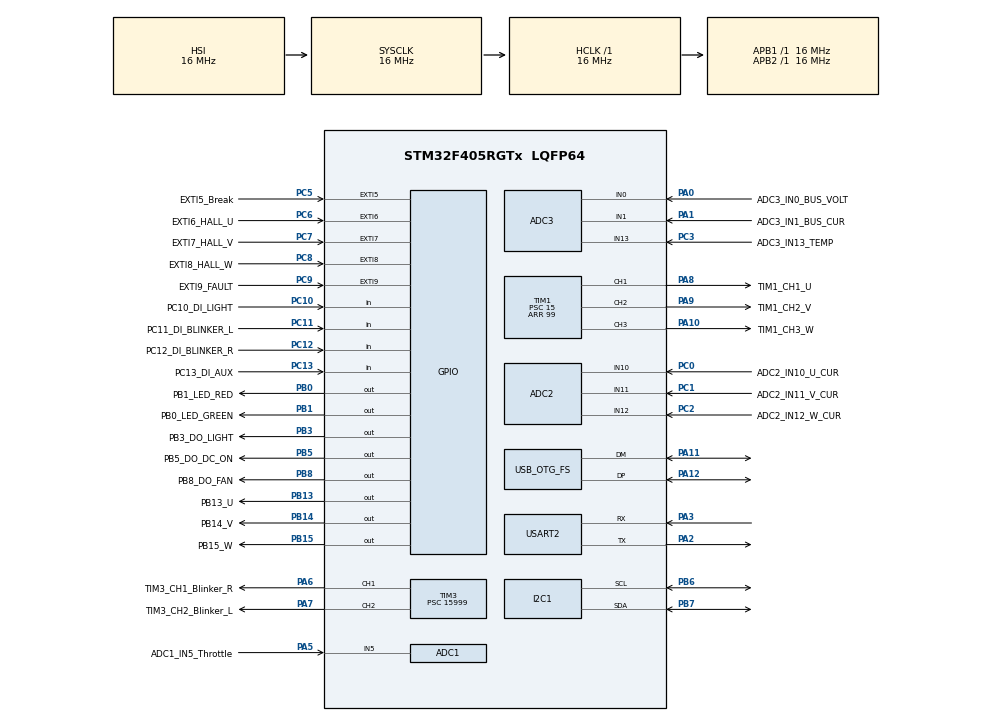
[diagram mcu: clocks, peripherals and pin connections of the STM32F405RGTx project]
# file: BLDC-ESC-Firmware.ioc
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ADC1.Channel-0\#ChannelRegularConversion=ADC_CHANNEL_5
ADC1.ContinuousConvMode=ENABLE
ADC1.NbrOfConversionFlag=1
ADC1.Rank-0\#ChannelRegularConversion=1
ADC1.SamplingTime-0\#ChannelRegularConversion=ADC_SAMPLETIME_3CYCLES
ADC1.master=1
ADC2.Channel-0\#ChannelRegularConversion=ADC_CHANNEL_10
ADC2.NbrOfConversionFlag=1
ADC2.Rank-0\#ChannelRegularConversion=1
ADC2.SamplingTime-0\#ChannelRegularConversion=ADC_SAMPLETIME_3CYCLES
ADC3.Channel-0\#ChannelRegularConversion=ADC_CHANNEL_1
ADC3.Channel-1\#ChannelRegularConversion=ADC_CHANNEL_0
ADC3.Channel-2\#ChannelRegularConversion=ADC_CHANNEL_13
ADC3.ContinuousConvMode=ENABLE
ADC3.NbrOfConversion=3
ADC3.NbrOfConversionFlag=1
ADC3.Rank-0\#ChannelRegularConversion=1
ADC3.Rank-1\#ChannelRegularConversion=2
ADC3.Rank-2\#ChannelRegularConversion=3
ADC3.SamplingTime-0\#ChannelRegularConversion=ADC_SAMPLETIME_28CYCLES
ADC3.SamplingTime-1\#ChannelRegularConversion=ADC_SAMPLETIME_28CYCLES
ADC3.SamplingTime-2\#ChannelRegularConversion=ADC_SAMPLETIME_28CYCLES
ADC3.ScanConvMode=ENABLE
Mcu.Family=STM32F4
Mcu.Name=STM32F405RGTx
Mcu.Package=LQFP64
NVIC.ADC_IRQn=true\:0\:0\:false\:false\:true\:true\:true\:true
NVIC.EXTI9_5_IRQn=true\:0\:0\:false\:false\:true\:true\:true\:true
NVIC.OTG_FS_IRQn=true\:0\:0\:false\:false\:true\:false\:true\:true
NVIC.PriorityGroup=NVIC_PRIORITYGROUP_4
NVIC.TIM2_IRQn=true\:0\:0\:false\:false\:true\:true\:true\:true
NVIC.USART2_IRQn=true\:0\:0\:false\:false\:true\:true\:true\:true
PA0-WKUP.GPIO_Label=ADC3_IN0_BUS_VOLT
PA0-WKUP.Signal=ADCx_IN0
PA1.GPIO_Label=ADC3_IN1_BUS_CUR
PA1.Signal=ADCx_IN1
PA10.GPIO_Label=TIM1_CH3_W
PA10.Signal=S_TIM1_CH3
PA11.Mode=Device_Only
PA11.Signal=USB_OTG_FS_DM
PA12.Mode=Device_Only
PA12.Signal=USB_OTG_FS_DP
PA13.Mode=Serial_Wire
PA13.Signal=SYS_JTMS-SWDIO
PA14.Mode=Serial_Wire
PA14.Signal=SYS_JTCK-SWCLK
PA2.Mode=Asynchronous
PA2.Signal=USART2_TX
PA3.Mode=Asynchronous
PA3.Signal=USART2_RX
PA5.GPIO_Label=ADC1_IN5_Throttle
PA5.Signal=ADCx_IN5
PA6.GPIO_Label=TIM3_CH1_Blinker_R
PA6.Signal=S_TIM3_CH1
PA7.GPIO_Label=TIM3_CH2_Blinker_L
PA7.Signal=S_TIM3_CH2
PA8.GPIO_Label=TIM1_CH1_U
PA8.Signal=S_TIM1_CH1
PA9.GPIO_Label=TIM1_CH2_V
PA9.Signal=S_TIM1_CH2
PB0.GPIO_Label=PB1_LED_RED
PB0.GPIO_ModeDefaultOutputPP=GPIO_MODE_OUTPUT_OD
PB0.GPIO_PuPd=GPIO_PULLUP
PB0.Signal=GPIO_Output
PB1.GPIO_Label=PB0_LED_GREEN
PB1.GPIO_ModeDefaultOutputPP=GPIO_MODE_OUTPUT_OD
PB1.GPIO_PuPd=GPIO_PULLUP
PB1.Signal=GPIO_Output
PB13.GPIO_Label=PB13_U
PB13.Signal=GPIO_Output
PB14.GPIO_Label=PB14_V
PB14.Signal=GPIO_Output
PB15.GPIO_Label=PB15_W
PB15.Signal=GPIO_Output
PB3.GPIO_Label=PB3_DO_LIGHT
PB3.GPIO_ModeDefaultOutputPP=GPIO_MODE_OUTPUT_OD
PB3.GPIO_PuPd=GPIO_PULLUP
PB3.Signal=GPIO_Output
PB5.GPIO_Label=PB5_DO_DC_ON
PB5.GPIO_ModeDefaultOutputPP=GPIO_MODE_OUTPUT_OD
PB5.GPIO_PuPd=GPIO_PULLUP
PB5.PinState=GPIO_PIN_SET
PB5.Signal=GPIO_Output
PB6.Mode=I2C
PB6.Signal=I2C1_SCL
PB7.Mode=I2C
PB7.Signal=I2C1_SDA
PB8.GPIO_Label=PB8_DO_FAN
PB8.GPIO_ModeDefaultOutputPP=GPIO_MODE_OUTPUT_OD
PB8.GPIO_PuPd=GPIO_PULLUP
PB8.Signal=GPIO_Output
PC0.GPIO_Label=ADC2_IN10_U_CUR
PC0.Signal=ADCx_IN10
PC1.GPIO_Label=ADC2_IN11_V_CUR
PC1.Signal=ADCx_IN11
PC10.GPIO_Label=PC10_DI_LIGHT
PC10.Signal=GPIO_Input
PC11.GPIO_Label=PC11_DI_BLINKER_L
PC11.Signal=GPIO_Input
PC12.GPIO_Label=PC12_DI_BLINKER_R
PC12.Signal=GPIO_Input
PC13-ANTI_TAMP.GPIO_Label=PC13_DI_AUX
PC13-ANTI_TAMP.Signal=GPIO_Input
PC2.GPIO_Label=ADC2_IN12_W_CUR
PC2.Signal=ADCx_IN12
PC3.GPIO_Label=ADC3_IN13_TEMP
PC3.Signal=ADCx_IN13
PC5.GPIO_Label=EXTI5_Break
PC5.GPIO_ModeDefaultEXTI=GPIO_MODE_IT_RISING_FALLING
PC5.Signal=GPXTI5
PC6.GPIO_Label=EXTI6_HALL_U
PC6.GPIO_ModeDefaultEXTI=GPIO_MODE_IT_RISING_FALLING
PC6.Signal=GPXTI6
PC7.GPIO_Label=EXTI7_HALL_V
PC7.GPIO_ModeDefaultEXTI=GPIO_MODE_IT_RISING_FALLING
PC7.Signal=GPXTI7
PC8.GPIO_Label=EXTI8_HALL_W
PC8.GPIO_ModeDefaultEXTI=GPIO_MODE_IT_RISING_FALLING
PC8.Signal=GPXTI8
PC9.GPIO_Label=EXTI9_FAULT
PC9.GPIO_ModeDefaultEXTI=GPIO_MODE_IT_RISING
PC9.Signal=GPXTI9
PH0-OSC_IN.Mode=HSE-External-Oscillator
PH0-OSC_IN.Signal=RCC_OSC_IN
PH1-OSC_OUT.Mode=HSE-External-Oscillator
PH1-OSC_OUT.Signal=RCC_OSC_OUT
ProjectManager.HeapSize=0x200
ProjectManager.StackSize=0x400
ProjectManager.TargetToolchain=STM32CubeIDE
RCC.48MHZClocksFreq_Value=48000000
RCC.AHBFreq_Value=16000000
RCC.APB1Freq_Value=16000000
RCC.APB2Freq_Value=16000000
RCC.CortexFreq_Value=16000000
RCC.HSE_VALUE=8000000
RCC.HSI_VALUE=16000000
RCC.LSE_VALUE=32768
RCC.PLLM=4
RCC.PLLN=72
RCC.PLLQ=3
RCC.SYSCLKFreq_VALUE=16000000
RCC.VCOOutputFreq_Value=144000000
SH.ADCx_IN0.0=ADC3_IN0,IN0
SH.ADCx_IN1.0=ADC3_IN1,IN1
SH.ADCx_IN10.0=ADC2_IN10,IN10
SH.ADCx_IN11.0=ADC2_IN11,IN11
SH.ADCx_IN12.0=ADC2_IN12,IN12
SH.ADCx_IN13.0=ADC3_IN13,IN13
SH.ADCx_IN5.0=ADC1_IN5,IN5
SH.S_TIM1_CH1.0=TIM1_CH1,PWM Generation1 CH1
SH.S_TIM1_CH2.0=TIM1_CH2,PWM Generation2 CH2
SH.S_TIM1_CH3.0=TIM1_CH3,PWM Generation3 CH3
SH.S_TIM3_CH1.0=TIM3_CH1,PWM Generation1 CH1
SH.S_TIM3_CH2.0=TIM3_CH2,PWM Generation2 CH2
TIM1.Channel-PWM\ Generation1\ CH1=TIM_CHANNEL_1
TIM1.Channel-PWM\ Generation2\ CH2=TIM_CHANNEL_2
TIM1.Channel-PWM\ Generation3\ CH3=TIM_CHANNEL_3
TIM1.Period=99
TIM1.Prescaler=15
TIM2.Period=99
TIM2.Prescaler=15999
TIM3.Channel-PWM\ Generation1\ CH1=TIM_CHANNEL_1
TIM3.Channel-PWM\ Generation2\ CH2=TIM_CHANNEL_2
TIM3.Period=499
TIM3.Prescaler=15999
USART2.VirtualMode=VM_ASYNC
USB_DEVICE.CLASS_NAME_FS=CDC
USB_DEVICE.VirtualMode-CDC_FS=Cdc
USB_DEVICE.VirtualModeFS=Cdc_FS
USB_OTG_FS.VirtualMode=Device_Only
VP_TIM1_VS_ClockSourceINT.Mode=Internal
VP_TIM2_VS_ClockSourceINT.Mode=Internal
VP_TIM3_VS_ClockSourceINT.Mode=Internal
VP_USB_DEVICE_VS_USB_DEVICE_CDC_FS.Mode=CDC_FS
board=custom

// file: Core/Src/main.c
/* USER CODE BEGIN Header */
/**
  ******************************************************************************
  * @file           : main.c
  * @brief          : Main program body
  ******************************************************************************
  * @attention
  *
  * Copyright (c) 2024 STMicroelectronics.
  * All rights reserved.
  *
  * This software is licensed under terms that can be found in the LICENSE file
  * in the root directory of this software component.
  * If no LICENSE file comes with this software, it is provided AS-IS.
  *
  ******************************************************************************
  */
/* USER CODE END Header */
#include "main.h"
#include "usb_device.h"

/* USER CODE BEGIN Includes */
#include "usb_device.h"
#include "usbd_cdc_if.h"
#include "liquidcrystal_i2c.h"
/* USER CODE END Includes */

ADC_HandleTypeDef hadc1;
ADC_HandleTypeDef hadc2;
ADC_HandleTypeDef hadc3;

I2C_HandleTypeDef hi2c1;

TIM_HandleTypeDef htim1;
TIM_HandleTypeDef htim2;
TIM_HandleTypeDef htim3;

UART_HandleTypeDef huart2;

/* USER CODE BEGIN PV */
/*
 * Machine State
 */
int STATE = DEBUGST;
/*
 * Drive Varaibles
 */

int dir = 1;
int duty = 0;

/*
 * Speed measurment Varaibles
 */
int hallCC = 0;
float rpm = 0;
/*
 * ADC Variables
 */
uint16_t rawThrot =0;
//uint16_t pwmThrot =0;

//ADC data [Current,Voltage,Temp,speed]
float ADC_VAL[4];
/*
 * Digital input Variables
 */
//Button data[Light,Blinker L, Blinker R, Aux]
uint16_t but[4];

// Global variable to track time in SWFAULT state (in 100ms units)
uint32_t swfault_time_counter = 0;

/*
 * Display variables
 */
lcd_ar lcd_val;

/* USER CODE END PV */

void SystemClock_Config(void);
static void MX_GPIO_Init(void);
static void MX_ADC1_Init(void);
static void MX_ADC2_Init(void);
static void MX_ADC3_Init(void);
static void MX_I2C1_Init(void);
static void MX_TIM3_Init(void);
static void MX_USART2_UART_Init(void);
static void MX_TIM1_Init(void);
static void MX_TIM2_Init(void);

int main(void)
{

  /* USER CODE BEGIN 1 */

	//init button array
	but[0]=1;
	but[1]=1;
	but[2]=1;
	but[3]=1;

  /* USER CODE END 1 */

  /* MCU Configuration--------------------------------------------------------*/

  /* Reset of all peripherals, Initializes the Flash interface and the Systick. */
  HAL_Init();

  /* Configure the system clock */
  SystemClock_Config();

  /* Initialize all configured peripherals */
  MX_GPIO_Init();
  MX_ADC1_Init();
  MX_ADC2_Init();
  MX_ADC3_Init();
  MX_I2C1_Init();
  MX_TIM3_Init();
  MX_USART2_UART_Init();
  MX_USB_DEVICE_Init();
  MX_TIM1_Init();
  MX_TIM2_Init();
  /* USER CODE BEGIN 2 */

  /*
   * Start 100ms AUX Timer
   */
  if (HAL_TIM_Base_Start_IT(&htim2) != HAL_OK)
  {
    /* Starting Error */
    Error_Handler();
  }

  //Close Relay
  HAL_GPIO_WritePin(GPIOB,PB5_DO_DC_ON_Pin,GPIO_PIN_RESET);
  //Init Blinker
  TIM3->CCR1 = 250;
  HAL_TIM_PWM_Start(&htim3, TIM_CHANNEL_1);
  TIM3->CCR2 = 250;
  HAL_TIM_PWM_Start(&htim3, TIM_CHANNEL_2);

   HD44780_Init(4);
   HD44780_Clear();

   HD44780_SetCursor(6,0);
   HD44780_PrintStr("Init...");
   HAL_Delay(250);

   HD44780_SetCursor(5,1);
   HD44780_PrintStr("BLDC DRIVE");
   HAL_Delay(250);

   HD44780_SetCursor(8,2);
   HD44780_PrintStr("By:");
   HAL_Delay(250);

   HD44780_SetCursor(5,3);
   HD44780_PrintStr("LEON REEH");
   HAL_Delay(800);
   HD44780_Clear();

   Init_lcd_ar(&lcd_val);
   resetDO();
  /* USER CODE END 2 */

  /* Infinite loop */
  /* USER CODE BEGIN WHILE */
  while (1)
  {
	  //Read inputs
	  readADCs();
	  readDI();
	  doADCs();
	  /* STATE MACHINE */
	  switch(STATE){
	  	  case READY:
	  		  ready();
	  		  setDO();
	  		  break;

	  	  case DRIVE:
	  		  drive();
	  		  setDO();
	  		  break;

	  	  case BREAK:
	  		  breaking();
	  		  setDO();
	  		  break;

	  	  case SWFAULT:
	  		  resetDO();
	  		  swfault();
	  		  break;

	  	  case HWFAULT:
	  		  resetDO();
	  		  hwfault();
	  		  break;

	  	  case DEBUGST:
	  		  debug();
	  		  setDO();
	  		  break;

	  	  default:
	  		  resetDO();
	  		  hwfault();
	  		  break;
	  	  }

	  //Update LCD every 500ms
	  if(timcc>=5){
		  update_lcd_val(&lcd_val,ADC_VAL);
		  writeState();
		  timcc =0;
	  }

	  HAL_Delay(25);

    /* USER CODE END WHILE */

  }
}

void SystemClock_Config(void)
{
  RCC_OscInitTypeDef RCC_OscInitStruct = {0};
  RCC_ClkInitTypeDef RCC_ClkInitStruct = {0};

  /** Configure the main internal regulator output voltage
  */
  __HAL_RCC_PWR_CLK_ENABLE();
  __HAL_PWR_VOLTAGESCALING_CONFIG(PWR_REGULATOR_VOLTAGE_SCALE1);

  /** Initializes the RCC Oscillators according to the specified parameters
  * in the RCC_OscInitTypeDef structure.
  */
  RCC_OscInitStruct.OscillatorType = RCC_OSCILLATORTYPE_HSI|RCC_OSCILLATORTYPE_HSE;
  RCC_OscInitStruct.HSEState = RCC_HSE_ON;
  RCC_OscInitStruct.HSIState = RCC_HSI_ON;
  RCC_OscInitStruct.HSICalibrationValue = RCC_HSICALIBRATION_DEFAULT;
  RCC_OscInitStruct.PLL.PLLState = RCC_PLL_ON;
  RCC_OscInitStruct.PLL.PLLSource = RCC_PLLSOURCE_HSE;
  RCC_OscInitStruct.PLL.PLLM = 4;
  RCC_OscInitStruct.PLL.PLLN = 72;
  RCC_OscInitStruct.PLL.PLLP = RCC_PLLP_DIV2;
  RCC_OscInitStruct.PLL.PLLQ = 3;
  if (HAL_RCC_OscConfig(&RCC_OscInitStruct) != HAL_OK)
  {
    Error_Handler();
  }

  /** Initializes the CPU, AHB and APB buses clocks
  */
  RCC_ClkInitStruct.ClockType = RCC_CLOCKTYPE_HCLK|RCC_CLOCKTYPE_SYSCLK
                              |RCC_CLOCKTYPE_PCLK1|RCC_CLOCKTYPE_PCLK2;
  RCC_ClkInitStruct.SYSCLKSource = RCC_SYSCLKSOURCE_HSI;
  RCC_ClkInitStruct.AHBCLKDivider = RCC_SYSCLK_DIV1;
  RCC_ClkInitStruct.APB1CLKDivider = RCC_HCLK_DIV1;
  RCC_ClkInitStruct.APB2CLKDivider = RCC_HCLK_DIV1;

  if (HAL_RCC_ClockConfig(&RCC_ClkInitStruct, FLASH_LATENCY_0) != HAL_OK)
  {
    Error_Handler();
  }
}

static void MX_ADC1_Init(void)
{

  ADC_ChannelConfTypeDef sConfig = {0};

  /** Configure the global features of the ADC (Clock, Resolution, Data Alignment and number of conversion)
  */
  hadc1.Instance = ADC1;
  hadc1.Init.ClockPrescaler = ADC_CLOCK_SYNC_PCLK_DIV2;
  hadc1.Init.Resolution = ADC_RESOLUTION_12B;
  hadc1.Init.ScanConvMode = DISABLE;
  hadc1.Init.ContinuousConvMode = ENABLE;
  hadc1.Init.DiscontinuousConvMode = DISABLE;
  hadc1.Init.ExternalTrigConvEdge = ADC_EXTERNALTRIGCONVEDGE_NONE;
  hadc1.Init.ExternalTrigConv = ADC_SOFTWARE_START;
  hadc1.Init.DataAlign = ADC_DATAALIGN_RIGHT;
  hadc1.Init.NbrOfConversion = 1;
  hadc1.Init.DMAContinuousRequests = DISABLE;
  hadc1.Init.EOCSelection = ADC_EOC_SINGLE_CONV;
  if (HAL_ADC_Init(&hadc1) != HAL_OK)
  {
    Error_Handler();
  }

  /** Configure for the selected ADC regular channel its corresponding rank in the sequencer and its sample time.
  */
  sConfig.Channel = ADC_CHANNEL_5;
  sConfig.Rank = 1;
  sConfig.SamplingTime = ADC_SAMPLETIME_3CYCLES;
  if (HAL_ADC_ConfigChannel(&hadc1, &sConfig) != HAL_OK)
  {
    Error_Handler();
  }

}

static void MX_ADC2_Init(void)
{

  ADC_ChannelConfTypeDef sConfig = {0};

  /** Configure the global features of the ADC (Clock, Resolution, Data Alignment and number of conversion)
  */
  hadc2.Instance = ADC2;
  hadc2.Init.ClockPrescaler = ADC_CLOCK_SYNC_PCLK_DIV2;
  hadc2.Init.Resolution = ADC_RESOLUTION_12B;
  hadc2.Init.ScanConvMode = DISABLE;
  hadc2.Init.ContinuousConvMode = DISABLE;
  hadc2.Init.DiscontinuousConvMode = DISABLE;
  hadc2.Init.ExternalTrigConvEdge = ADC_EXTERNALTRIGCONVEDGE_NONE;
  hadc2.Init.ExternalTrigConv = ADC_SOFTWARE_START;
  hadc2.Init.DataAlign = ADC_DATAALIGN_RIGHT;
  hadc2.Init.NbrOfConversion = 1;
  hadc2.Init.DMAContinuousRequests = DISABLE;
  hadc2.Init.EOCSelection = ADC_EOC_SINGLE_CONV;
  if (HAL_ADC_Init(&hadc2) != HAL_OK)
  {
    Error_Handler();
  }

  /** Configure for the selected ADC regular channel its corresponding rank in the sequencer and its sample time.
  */
  sConfig.Channel = ADC_CHANNEL_10;
  sConfig.Rank = 1;
  sConfig.SamplingTime = ADC_SAMPLETIME_3CYCLES;
  if (HAL_ADC_ConfigChannel(&hadc2, &sConfig) != HAL_OK)
  {
    Error_Handler();
  }

}

static void MX_ADC3_Init(void)
{

  ADC_ChannelConfTypeDef sConfig = {0};

  /** Configure the global features of the ADC (Clock, Resolution, Data Alignment and number of conversion)
  */
  hadc3.Instance = ADC3;
  hadc3.Init.ClockPrescaler = ADC_CLOCK_SYNC_PCLK_DIV2;
  hadc3.Init.Resolution = ADC_RESOLUTION_12B;
  hadc3.Init.ScanConvMode = ENABLE;
  hadc3.Init.ContinuousConvMode = ENABLE;
  hadc3.Init.DiscontinuousConvMode = DISABLE;
  hadc3.Init.ExternalTrigConvEdge = ADC_EXTERNALTRIGCONVEDGE_NONE;
  hadc3.Init.ExternalTrigConv = ADC_SOFTWARE_START;
  hadc3.Init.DataAlign = ADC_DATAALIGN_RIGHT;
  hadc3.Init.NbrOfConversion = 3;
  hadc3.Init.DMAContinuousRequests = DISABLE;
  hadc3.Init.EOCSelection = ADC_EOC_SINGLE_CONV;
  if (HAL_ADC_Init(&hadc3) != HAL_OK)
  {
    Error_Handler();
  }

  /** Configure for the selected ADC regular channel its corresponding rank in the sequencer and its sample time.
  */
  sConfig.Channel = ADC_CHANNEL_1;
  sConfig.Rank = 1;
  sConfig.SamplingTime = ADC_SAMPLETIME_28CYCLES;
  if (HAL_ADC_ConfigChannel(&hadc3, &sConfig) != HAL_OK)
  {
    Error_Handler();
  }

  /** Configure for the selected ADC regular channel its corresponding rank in the sequencer and its sample time.
  */
  sConfig.Channel = ADC_CHANNEL_0;
  sConfig.Rank = 2;
  if (HAL_ADC_ConfigChannel(&hadc3, &sConfig) != HAL_OK)
  {
    Error_Handler();
  }

  /** Configure for the selected ADC regular channel its corresponding rank in the sequencer and its sample time.
  */
  sConfig.Channel = ADC_CHANNEL_13;
  sConfig.Rank = 3;
  if (HAL_ADC_ConfigChannel(&hadc3, &sConfig) != HAL_OK)
  {
    Error_Handler();
  }

}

static void MX_I2C1_Init(void)
{

  hi2c1.Instance = I2C1;
  hi2c1.Init.ClockSpeed = 100000;
  hi2c1.Init.DutyCycle = I2C_DUTYCYCLE_2;
  hi2c1.Init.OwnAddress1 = 0;
  hi2c1.Init.AddressingMode = I2C_ADDRESSINGMODE_7BIT;
  hi2c1.Init.DualAddressMode = I2C_DUALADDRESS_DISABLE;
  hi2c1.Init.OwnAddress2 = 0;
  hi2c1.Init.GeneralCallMode = I2C_GENERALCALL_DISABLE;
  hi2c1.Init.NoStretchMode = I2C_NOSTRETCH_DISABLE;
  if (HAL_I2C_Init(&hi2c1) != HAL_OK)
  {
    Error_Handler();
  }

}

static void MX_TIM1_Init(void)
{

  TIM_ClockConfigTypeDef sClockSourceConfig = {0};
  TIM_MasterConfigTypeDef sMasterConfig = {0};
  TIM_OC_InitTypeDef sConfigOC = {0};
  TIM_BreakDeadTimeConfigTypeDef sBreakDeadTimeConfig = {0};

  htim1.Instance = TIM1;
  htim1.Init.Prescaler = 15;
  htim1.Init.CounterMode = TIM_COUNTERMODE_UP;
  htim1.Init.Period = 99;
  htim1.Init.ClockDivision = TIM_CLOCKDIVISION_DIV1;
  htim1.Init.RepetitionCounter = 0;
  htim1.Init.AutoReloadPreload = TIM_AUTORELOAD_PRELOAD_DISABLE;
  if (HAL_TIM_Base_Init(&htim1) != HAL_OK)
  {
    Error_Handler();
  }
  sClockSourceConfig.ClockSource = TIM_CLOCKSOURCE_INTERNAL;
  if (HAL_TIM_ConfigClockSource(&htim1, &sClockSourceConfig) != HAL_OK)
  {
    Error_Handler();
  }
  if (HAL_TIM_PWM_Init(&htim1) != HAL_OK)
  {
    Error_Handler();
  }
  sMasterConfig.MasterOutputTrigger = TIM_TRGO_RESET;
  sMasterConfig.MasterSlaveMode = TIM_MASTERSLAVEMODE_DISABLE;
  if (HAL_TIMEx_MasterConfigSynchronization(&htim1, &sMasterConfig) != HAL_OK)
  {
    Error_Handler();
  }
  sConfigOC.OCMode = TIM_OCMODE_PWM1;
  sConfigOC.Pulse = 0;
  sConfigOC.OCPolarity = TIM_OCPOLARITY_HIGH;
  sConfigOC.OCNPolarity = TIM_OCNPOLARITY_HIGH;
  sConfigOC.OCFastMode = TIM_OCFAST_DISABLE;
  sConfigOC.OCIdleState = TIM_OCIDLESTATE_RESET;
  sConfigOC.OCNIdleState = TIM_OCNIDLESTATE_RESET;
  if (HAL_TIM_PWM_ConfigChannel(&htim1, &sConfigOC, TIM_CHANNEL_1) != HAL_OK)
  {
    Error_Handler();
  }
  if (HAL_TIM_PWM_ConfigChannel(&htim1, &sConfigOC, TIM_CHANNEL_2) != HAL_OK)
  {
    Error_Handler();
  }
  if (HAL_TIM_PWM_ConfigChannel(&htim1, &sConfigOC, TIM_CHANNEL_3) != HAL_OK)
  {
    Error_Handler();
  }
  sBreakDeadTimeConfig.OffStateRunMode = TIM_OSSR_DISABLE;
  sBreakDeadTimeConfig.OffStateIDLEMode = TIM_OSSI_DISABLE;
  sBreakDeadTimeConfig.LockLevel = TIM_LOCKLEVEL_OFF;
  sBreakDeadTimeConfig.DeadTime = 0;
  sBreakDeadTimeConfig.BreakState = TIM_BREAK_DISABLE;
  sBreakDeadTimeConfig.BreakPolarity = TIM_BREAKPOLARITY_HIGH;
  sBreakDeadTimeConfig.AutomaticOutput = TIM_AUTOMATICOUTPUT_DISABLE;
  if (HAL_TIMEx_ConfigBreakDeadTime(&htim1, &sBreakDeadTimeConfig) != HAL_OK)
  {
    Error_Handler();
  }
  HAL_TIM_MspPostInit(&htim1);

}

static void MX_TIM2_Init(void)
{

  TIM_ClockConfigTypeDef sClockSourceConfig = {0};
  TIM_MasterConfigTypeDef sMasterConfig = {0};

  htim2.Instance = TIM2;
  htim2.Init.Prescaler = 15999;
  htim2.Init.CounterMode = TIM_COUNTERMODE_UP;
  htim2.Init.Period = 99;
  htim2.Init.ClockDivision = TIM_CLOCKDIVISION_DIV1;
  htim2.Init.AutoReloadPreload = TIM_AUTORELOAD_PRELOAD_DISABLE;
  if (HAL_TIM_Base_Init(&htim2) != HAL_OK)
  {
    Error_Handler();
  }
  sClockSourceConfig.ClockSource = TIM_CLOCKSOURCE_INTERNAL;
  if (HAL_TIM_ConfigClockSource(&htim2, &sClockSourceConfig) != HAL_OK)
  {
    Error_Handler();
  }
  sMasterConfig.MasterOutputTrigger = TIM_TRGO_RESET;
  sMasterConfig.MasterSlaveMode = TIM_MASTERSLAVEMODE_DISABLE;
  if (HAL_TIMEx_MasterConfigSynchronization(&htim2, &sMasterConfig) != HAL_OK)
  {
    Error_Handler();
  }

}

static void MX_TIM3_Init(void)
{

  TIM_ClockConfigTypeDef sClockSourceConfig = {0};
  TIM_MasterConfigTypeDef sMasterConfig = {0};
  TIM_OC_InitTypeDef sConfigOC = {0};

  htim3.Instance = TIM3;
  htim3.Init.Prescaler = 15999;
  htim3.Init.CounterMode = TIM_COUNTERMODE_UP;
  htim3.Init.Period = 499;
  htim3.Init.ClockDivision = TIM_CLOCKDIVISION_DIV1;
  htim3.Init.AutoReloadPreload = TIM_AUTORELOAD_PRELOAD_DISABLE;
  if (HAL_TIM_Base_Init(&htim3) != HAL_OK)
  {
    Error_Handler();
  }
  sClockSourceConfig.ClockSource = TIM_CLOCKSOURCE_INTERNAL;
  if (HAL_TIM_ConfigClockSource(&htim3, &sClockSourceConfig) != HAL_OK)
  {
    Error_Handler();
  }
  if (HAL_TIM_PWM_Init(&htim3) != HAL_OK)
  {
    Error_Handler();
  }
  sMasterConfig.MasterOutputTrigger = TIM_TRGO_RESET;
  sMasterConfig.MasterSlaveMode = TIM_MASTERSLAVEMODE_DISABLE;
  if (HAL_TIMEx_MasterConfigSynchronization(&htim3, &sMasterConfig) != HAL_OK)
  {
    Error_Handler();
  }
  sConfigOC.OCMode = TIM_OCMODE_PWM1;
  sConfigOC.Pulse = 0;
  sConfigOC.OCPolarity = TIM_OCPOLARITY_HIGH;
  sConfigOC.OCFastMode = TIM_OCFAST_DISABLE;
  if (HAL_TIM_PWM_ConfigChannel(&htim3, &sConfigOC, TIM_CHANNEL_1) != HAL_OK)
  {
    Error_Handler();
  }
  if (HAL_TIM_PWM_ConfigChannel(&htim3, &sConfigOC, TIM_CHANNEL_2) != HAL_OK)
  {
    Error_Handler();
  }
  HAL_TIM_MspPostInit(&htim3);

}

static void MX_USART2_UART_Init(void)
{

  huart2.Instance = USART2;
  huart2.Init.BaudRate = 115200;
  huart2.Init.WordLength = UART_WORDLENGTH_8B;
  huart2.Init.StopBits = UART_STOPBITS_1;
  huart2.Init.Parity = UART_PARITY_NONE;
  huart2.Init.Mode = UART_MODE_TX_RX;
  huart2.Init.HwFlowCtl = UART_HWCONTROL_NONE;
  huart2.Init.OverSampling = UART_OVERSAMPLING_16;
  if (HAL_UART_Init(&huart2) != HAL_OK)
  {
    Error_Handler();
  }

}

static void MX_GPIO_Init(void)
{
  GPIO_InitTypeDef GPIO_InitStruct = {0};

  /* GPIO Ports Clock Enable */
  __HAL_RCC_GPIOC_CLK_ENABLE();
  __HAL_RCC_GPIOH_CLK_ENABLE();
  __HAL_RCC_GPIOA_CLK_ENABLE();
  __HAL_RCC_GPIOB_CLK_ENABLE();

  /*Configure GPIO pin Output Level */
  HAL_GPIO_WritePin(GPIOB, PB1_LED_RED_Pin|PB0_LED_GREEN_Pin|PB13_U_Pin|PB14_V_Pin
                          |PB15_W_Pin|PB3_DO_LIGHT_Pin|PB8_DO_FAN_Pin, GPIO_PIN_RESET);

  /*Configure GPIO pin Output Level */
  HAL_GPIO_WritePin(PB5_DO_DC_ON_GPIO_Port, PB5_DO_DC_ON_Pin, GPIO_PIN_SET);

  /*Configure GPIO pins : PC13_DI_AUX_Pin PC10_DI_LIGHT_Pin PC11_DI_BLINKER_L_Pin PC12_DI_BLINKER_R_Pin */
  GPIO_InitStruct.Pin = PC13_DI_AUX_Pin|PC10_DI_LIGHT_Pin|PC11_DI_BLINKER_L_Pin|PC12_DI_BLINKER_R_Pin;
  GPIO_InitStruct.Mode = GPIO_MODE_INPUT;
  GPIO_InitStruct.Pull = GPIO_NOPULL;
  HAL_GPIO_Init(GPIOC, &GPIO_InitStruct);

  /*Configure GPIO pins : EXTI5_Break_Pin EXTI6_HALL_U_Pin EXTI7_HALL_V_Pin EXTI8_HALL_W_Pin */
  GPIO_InitStruct.Pin = EXTI5_Break_Pin|EXTI6_HALL_U_Pin|EXTI7_HALL_V_Pin|EXTI8_HALL_W_Pin;
  GPIO_InitStruct.Mode = GPIO_MODE_IT_RISING_FALLING;
  GPIO_InitStruct.Pull = GPIO_NOPULL;
  HAL_GPIO_Init(GPIOC, &GPIO_InitStruct);

  /*Configure GPIO pins : PB1_LED_RED_Pin PB0_LED_GREEN_Pin PB3_DO_LIGHT_Pin PB5_DO_DC_ON_Pin
                           PB8_DO_FAN_Pin */
  GPIO_InitStruct.Pin = PB1_LED_RED_Pin|PB0_LED_GREEN_Pin|PB3_DO_LIGHT_Pin|PB5_DO_DC_ON_Pin
                          |PB8_DO_FAN_Pin;
  GPIO_InitStruct.Mode = GPIO_MODE_OUTPUT_OD;
  GPIO_InitStruct.Pull = GPIO_PULLUP;
  GPIO_InitStruct.Speed = GPIO_SPEED_FREQ_LOW;
  HAL_GPIO_Init(GPIOB, &GPIO_InitStruct);

  /*Configure GPIO pins : PB13_U_Pin PB14_V_Pin PB15_W_Pin */
  GPIO_InitStruct.Pin = PB13_U_Pin|PB14_V_Pin|PB15_W_Pin;
  GPIO_InitStruct.Mode = GPIO_MODE_OUTPUT_PP;
  GPIO_InitStruct.Pull = GPIO_NOPULL;
  GPIO_InitStruct.Speed = GPIO_SPEED_FREQ_LOW;
  HAL_GPIO_Init(GPIOB, &GPIO_InitStruct);

  /*Configure GPIO pin : EXTI9_FAULT_Pin */
  GPIO_InitStruct.Pin = EXTI9_FAULT_Pin;
  GPIO_InitStruct.Mode = GPIO_MODE_IT_RISING;
  GPIO_InitStruct.Pull = GPIO_NOPULL;
  HAL_GPIO_Init(EXTI9_FAULT_GPIO_Port, &GPIO_InitStruct);

  /* EXTI interrupt init*/
  HAL_NVIC_SetPriority(EXTI9_5_IRQn, 0, 0);
  HAL_NVIC_EnableIRQ(EXTI9_5_IRQn);

}

/* USER CODE BEGIN 4 */
//Interrupt Pin Function
void HAL_GPIO_EXTI_Callback(uint16_t GPIO_Pin) {
    // Handle Break Signal Interrupt
    if (GPIO_Pin == EXTI5_Break_Pin) {
    	handleBreakInterrupt();
    }
    // Handle Hardware Fault Interrupt
    else if (GPIO_Pin == EXTI9_FAULT_Pin) {
    	handleHardwareFaultInterrupt();
    }
    // Handle Hall Sensor Interrupt
    else if (STATE == DRIVE || STATE == READY) {
        if (GPIO_Pin == EXTI6_HALL_U_Pin || GPIO_Pin == EXTI7_HALL_V_Pin || GPIO_Pin == EXTI8_HALL_W_Pin) {
        	handleHallSensorInterrupt(GPIO_Pin);
        }
    } else {
        // No operation for other states
        __NOP();
    }
}
/* Interrupt Handler Functions*/

/**
  * @brief Handles the brake interrupt signal, transitioning motor state between BREAK and READY
  * @param None
  * @retval void
  */
void handleBreakInterrupt() {
    uint16_t breakSignal = (GPIOC->IDR & GPIO_IDR_ID5) ? 0x0001 : 0x0000;
    if (breakSignal == 0) {
        // Transition to BREAK state
        STATE = BREAK;
        HAL_GPIO_WritePin(PB0_LED_GREEN_GPIO_Port, PB0_LED_GREEN_Pin, GPIO_PIN_RESET);
        HAL_GPIO_WritePin(PB1_LED_RED_GPIO_Port, PB1_LED_RED_Pin, GPIO_PIN_SET);
    } else {
        // Transition to READY state if motor is fully stopped
    	if(rpm >=5){
    		STATE = DRIVE;
    	}else{
    		STATE = READY;
    	}
        HAL_GPIO_WritePin(PB0_LED_GREEN_GPIO_Port, PB0_LED_GREEN_Pin, GPIO_PIN_SET);
        HAL_GPIO_WritePin(PB1_LED_RED_GPIO_Port, PB1_LED_RED_Pin, GPIO_PIN_RESET);
    }
}

/**
  * @brief Handles hardware fault interrupts, transitioning motor state to HWFAULT
  * @param None
  * @retval void
  */
void handleHardwareFaultInterrupt() {
	STATE = HWFAULT;
    // Optional: Implement hardware fault handling
    // Example readADCs() and determine fault cause;
}

/**
  * @brief Handles hall sensor interrupts, updates commutator step for motor control
  * @param GPIO_Pin      = Pin number that triggered the interrupt
  * @retval void
  */
void handleHallSensorInterrupt(uint16_t GPIO_Pin) {
    hallCC++; // Increment hall sensor counter

    // Read hall sensor states
    uint16_t hall[3];
    hall[0] = (GPIOC->IDR & GPIO_IDR_ID6) ? 0x0001 : 0x0000; // Sensor U
    hall[1] = (GPIOC->IDR & GPIO_IDR_ID7) ? 0x0001 : 0x0000; // Sensor V
    hall[2] = (GPIOC->IDR & GPIO_IDR_ID8) ? 0x0001 : 0x0000; // Sensor W

    // Trapazoidal control
    uint16_t commutatorStep = hallState(hall);
    commutator(commutatorStep, duty, dir);

    // Optional: Implement sine control as needed
    /*
     * uint16_t commutatorStep = hallState(hall);
     * uint16_t phaseAngle = electricalAngle(commutatorStep);
     * FOCcommutator(phaseAngle, duty);
     */
}

/* Input Functions*/
/**
  * @brief Reads ADC values for voltage, current, and temperature, and updates corresponding variables
  * @param None
  * @retval void
  */
void readADCs(){
	uint16_t a =0;  //Int dump for ADC
	float x = 0.0;
	//READ Voltage
	ADC3_Select_CH(0);
	HAL_ADC_Start(&hadc3);
	HAL_ADC_PollForConversion(&hadc3, ADC_TIMEOUT);
	a =HAL_ADC_GetValue(&hadc3);
	HAL_ADC_Stop(&hadc3);
	x = adc_volt(a);
	ADC_VAL[0] = 0.15 * x + (1.0- 0.15)*ADC_VAL[0];

	//READ Current
	ADC3_Select_CH(1);
	HAL_ADC_Start(&hadc3);
	HAL_ADC_PollForConversion(&hadc3, ADC_TIMEOUT);
	a =HAL_ADC_GetValue(&hadc3);
	HAL_ADC_Stop(&hadc3);
	x = adc_volt(a);
	ADC_VAL[1] = 0.15 * x + (1.0- 0.15)*ADC_VAL[1];

	//READ Temperature
	ADC3_Select_CH(2);
	HAL_ADC_Start(&hadc3);
	HAL_ADC_PollForConversion(&hadc3, ADC_TIMEOUT);
	a =HAL_ADC_GetValue(&hadc3);
	HAL_ADC_Stop(&hadc3);
	x = adc_volt(a);
	ADC_VAL[2] = 0.15 * x + (1.0- 0.15)*ADC_VAL[2];

}
/**
  * @brief Processes ADC values to monitor and control system states, including fault detection and fan control
  * @param None
  * @retval void
  */
void doADCs() {
    // Ensure ADC_VAL array has enough elements
    if (sizeof(ADC_VAL) / sizeof(ADC_VAL[0]) < 3) {
        // Handle error (e.g., log it, set state to fault)
        STATE = SWFAULT;
        HD44780_SetCursor(0, 1);
        HD44780_PrintStr("ERR:ADC VAL SIZE");
        return;
    }

    // Release SW_FAULT if all conditions are normal
    if (STATE == SWFAULT) {
        if (ADC_VAL[0] < SW_OV && ADC_VAL[0] > SW_UV + 2 &&  // Voltage OK
            ADC_VAL[1] <= 1 &&                              // Current OK
            ADC_VAL[2] <= Temp_FAN_ON) {                    // Temperature OK
            STATE = BREAK;
        }
    }
    // Device is in normal condition
    if (STATE !=SWFAULT){
        // Control the fan based on temperature
        if (ADC_VAL[2] >= Temp_FAN_ON) {
            HAL_GPIO_WritePin(GPIOB, PB8_DO_FAN_Pin, GPIO_PIN_RESET); // FAN ON
        } else if (ADC_VAL[2] <= Temp_FAN_OFF) {
            HAL_GPIO_WritePin(GPIOB, PB8_DO_FAN_Pin, GPIO_PIN_SET);   // FAN OFF
        }

        // Check for software faults and set error messages
        if (ADC_VAL[0] >= SW_OV) {
            setFaultState("ERR:SW OV");
        } else if (ADC_VAL[0] <= SW_UV) {
            setFaultState("ERR:SW UV");
        } else if (ADC_VAL[1] >= SW_OC) {
            setFaultState("ERR:SW OC");
        } else if (ADC_VAL[2] >= SW_OT) {
            setFaultState("ERR:SW OT");
        }
    }
}

/**
  * @brief Sets the system state to SWFAULT and displays the provided error message
  * @param errorMessage    = Pointer to a string containing the fault error message
  * @retval void
  */
void setFaultState(const char* errorMessage) {
    STATE = SWFAULT;
    HD44780_SetCursor(0, 1);
    HD44780_PrintStr(errorMessage);
}

/**
  * @brief Write the Hardware state to the corresponding position onto the display
  * @retval void
  */
void writeState() {
    const char *state; // String to hold the text corresponding to the state

    switch (STATE) {
        case READY:
            state = "READY";
            break;
        case DRIVE:
            state = "DRIVE";
            break;
        case BREAK:
            state = "BREAK";
            break;
        case SWFAULT:
            state = "SWFAULT";
            break;
        case HWFAULT:
            state = "HWFAULT";
            break;
        case DEBUGST:
        	state = "DEBUG";
            break;
        default:
            state = "UNKNOWN"; // Fallback for undefined states
            break;
    }

    // Set the cursor to position (0, 2)
    HD44780_SetCursor(0, 2);

    // Write the corresponding state string to the display
    HD44780_PrintStr(state);
}

/**
  * @brief Reads digital input values from GPIO pins and updates button states
  * @param None
  * @retval void
  */
void readDI(){
    // Button data[Light, Blinker L, Blinker R, Aux]
    uint16_t but_new[4];
    but_new[0] = (GPIOC->IDR & GPIO_IDR_ID10) ? 0x0001 : 0x0000;
    but_new[1] = (GPIOC->IDR & GPIO_IDR_ID11) ? 0x0001 : 0x0000;
    but_new[2] = (GPIOC->IDR & GPIO_IDR_ID12) ? 0x0001 : 0x0000;
    but_new[3] = (GPIOC->IDR & GPIO_IDR_ID13) ? 0x0001 : 0x0000;

    for (int i = 0; i < 4; i++) {
    	but[i] = but_new[i];
        }
}
/* Output Functions*/
/**
  * @brief Sets digital output states based on button inputs and updates system behavior accordingly
  * @param None
  * @retval void
  */
void setDO() {
	//Data error
	if (sizeof(but) / sizeof(but[0]) < 4) {
		setFaultState("ERR: DO SIZE");
	}

    // Button data: [Light, Blinker L, Blinker R, Aux]
    // Toggle lights based on button state
    HAL_GPIO_WritePin(GPIOB, PB3_DO_LIGHT_Pin, but[0] == 0 ? GPIO_PIN_RESET : GPIO_PIN_SET);

    // Handle Blinker Left (PWM Control)
    if (but[1] == 1) {
        TIM3->CCR2 = BLINKER_START;  // Start PWM
    } else {
        TIM3->CCR2 = BLINKER_STOP;  // Stop PWM
    }

    // Handle Blinker Right (PWM Control)
    if (but[2] == 1) {
        TIM3->CCR1 = BLINKER_START;  // Start PWM
    } else {
        TIM3->CCR1 = BLINKER_STOP;  // Stop PWM
    }

    // Handle Aux button action
    if (but[3] == 0) {
        HAL_GPIO_TogglePin(PB1_LED_RED_GPIO_Port, PB1_LED_RED_Pin); // Toggle LED
        STATE = DRIVE;                                             // Set state to DRIVE
    }
}

/**
  * @brief Resets digital output states into off state
  * @param None
  * @retval void
  */
void resetDO(){
	//main light off
	HAL_GPIO_WritePin(GPIOB, PB3_DO_LIGHT_Pin,GPIO_PIN_RESET);
	TIM3->CCR2 = BLINKER_STOP;  // Stop Blinker Left PWM
	TIM3->CCR1 = BLINKER_STOP;  // Stop Blinker Right PWM
}

/* STATE Machine Functions */
/**
  * @brief Prepares the system for motor operation by initializing throttle input and PWM control
  * @param None
  * @retval void
  */
void ready() {
    // Start ADC conversion
    HAL_ADC_Start(&hadc1);
    HAL_ADC_PollForConversion(&hadc1, 20);

    // Get throttle raw value
    rawThrot = HAL_ADC_GetValue(&hadc1);

    // Map throttle value to duty cycle range
    int THrotduty = map(rawThrot, MINADC, MAXADC, MINDUTY, MAXDUTY);

    // Check if throttle duty cycle exceeds the threshold
    if (THrotduty >= THROTTLE_THRESHOLD) {
        // Initialize PWM outputs to zero
        TIM1->CCR1 = 0;
        TIM1->CCR2 = 0;
        TIM1->CCR3 = 0;

        // Start PWM for all three channels
        HAL_TIM_PWM_Start(&htim1, TIM_CHANNEL_1);
        HAL_TIM_PWM_Start(&htim1, TIM_CHANNEL_2);
        HAL_TIM_PWM_Start(&htim1, TIM_CHANNEL_3);

        // Initialize BLDC motor
        initBLDC();

        // Set initial duty cycle
        duty = 10; // Set initial duty cycle; modify as needed

        // Change state to DRIVE
        STATE = DRIVE;
    }
}

/**
  * @brief Controls the motor drive by reading throttle input and updating the PWM duty cycle
  * @param None
  * @retval void
  */
void drive() {
    // Start ADC conversion
    HAL_ADC_Start(&hadc1);

    // Wait for ADC conversion to complete with a timeout
    if (HAL_ADC_PollForConversion(&hadc1, ADC_TIMEOUT) == HAL_OK) {
        // Get raw throttle value
        rawThrot = HAL_ADC_GetValue(&hadc1);

        // Map the raw throttle value to a duty cycle range
        int THrotduty = map(rawThrot, MINADC, MAXADC, MINDUTY, MAXDUTY);

        // Update the duty cycle
        duty = THrotduty;
    } else {
        // Handle ADC conversion error (optional)
        duty = 0; // Set duty to a safe value in case of failure
        setFaultState("ERR: ADC");
        // Optionally log or display an error message
    }
}

/**
  * @brief Engages the braking mechanism by stopping PWM outputs and activating braking GPIO pins
  * @param None
  * @retval void
  */
void breaking() {
    // Stop all PWM channels
    TIM1->CCR1 = 0;
    TIM1->CCR2 = 0;
    TIM1->CCR3 = 0;
    duty = 0; // Reset duty cycle to zero

    HAL_TIM_PWM_Stop(&htim1, TIM_CHANNEL_1);
    HAL_TIM_PWM_Stop(&htim1, TIM_CHANNEL_2);
    HAL_TIM_PWM_Stop(&htim1, TIM_CHANNEL_3);

    // Set GPIO pins for braking mode
    HAL_GPIO_WritePin(GPIOB, PB13_U_Pin, GPIO_PIN_SET);
    HAL_GPIO_WritePin(GPIOB, PB14_V_Pin, GPIO_PIN_SET);
    HAL_GPIO_WritePin(GPIOB, PB15_W_Pin, GPIO_PIN_SET);
}

/**
  * @brief Handles the software fault state by engaging braking and transitioning to HWFAULT after a timeout
  * @param None
  * @retval void
  */
void swfault() {
    // Perform breaking to ensure the system is in a safe state
    breaking();

    // Check if the timeout for SWFAULT has elapsed (30s = 300 units of 100ms)
    if (swfault_time_counter >= SWFAULT_TIMOUT) {
        // Transition to HWFAULT state
        STATE = HWFAULT;
    }
}

/**
  * @brief Handles hardware faults by engaging braking, displaying an error message, and halting execution
  * @param None
  * @retval void
  */
void hwfault(){
	STATE = HWFAULT;
	breaking();
	HD44780_SetCursor(0,1);
	HD44780_PrintStr("ERROR:HW FAULT");
	//Stuck untill Power on reset
	while(1){
		HAL_Delay(100);

	}
}

void debug(){
	TIM1->CCR1 = 0;
	TIM1->CCR2 = 0;
	TIM1->CCR3 = 0;
	duty = 0;
	HAL_TIM_PWM_Stop(&htim1, TIM_CHANNEL_1);
	HAL_TIM_PWM_Stop(&htim1, TIM_CHANNEL_2);
	HAL_TIM_PWM_Stop(&htim1, TIM_CHANNEL_3);
	HAL_GPIO_WritePin(GPIOB,PB13_U_Pin,GPIO_PIN_RESET);
	HAL_GPIO_WritePin(GPIOB,PB14_V_Pin,GPIO_PIN_RESET);
	HAL_GPIO_WritePin(GPIOB,PB15_W_Pin,GPIO_PIN_RESET);
}

/**
  * @brief Configures the ADC3 channel for the selected input
  * @param ch    = Channel number to configure (0, 1, or 2)
  * @retval void
  */
void ADC3_Select_CH(int ch){
	ADC_ChannelConfTypeDef sConfig = {0};
	if(ch ==0){
		  /** Configure for the selected ADC regular channel its corresponding rank in the sequencer and its sample time.
		  */
		  sConfig.Channel = ADC_CHANNEL_0;
		  sConfig.Rank = 1;
		  sConfig.SamplingTime = ADC_SAMPLETIME_28CYCLES;
		  if (HAL_ADC_ConfigChannel(&hadc3, &sConfig) != HAL_OK)
		  {
		    Error_Handler();
		  }
	}

	if(ch==1){
		  /** Configure for the selected ADC regular channel its corresponding rank in the sequencer and its sample time.
		  */
		  sConfig.Channel = ADC_CHANNEL_1;
		  sConfig.Rank = 1;
		  sConfig.SamplingTime = ADC_SAMPLETIME_28CYCLES;
		  if (HAL_ADC_ConfigChannel(&hadc3, &sConfig) != HAL_OK)
		  {
		    Error_Handler();
		  }
	}
	if(ch==2){
		  /** Configure for the selected ADC regular channel its corresponding rank in the sequencer and its sample time.
		  */
		  sConfig.Channel = ADC_CHANNEL_13;
		  sConfig.Rank = 1;
		  sConfig.SamplingTime = ADC_SAMPLETIME_28CYCLES;
		  if (HAL_ADC_ConfigChannel(&hadc3, &sConfig) != HAL_OK)
		  {
		    Error_Handler();
		  }
	}
}

/* USER CODE END 4 */

void Error_Handler(void)
{
  __disable_irq();
  while (1)
  {
  }
}
